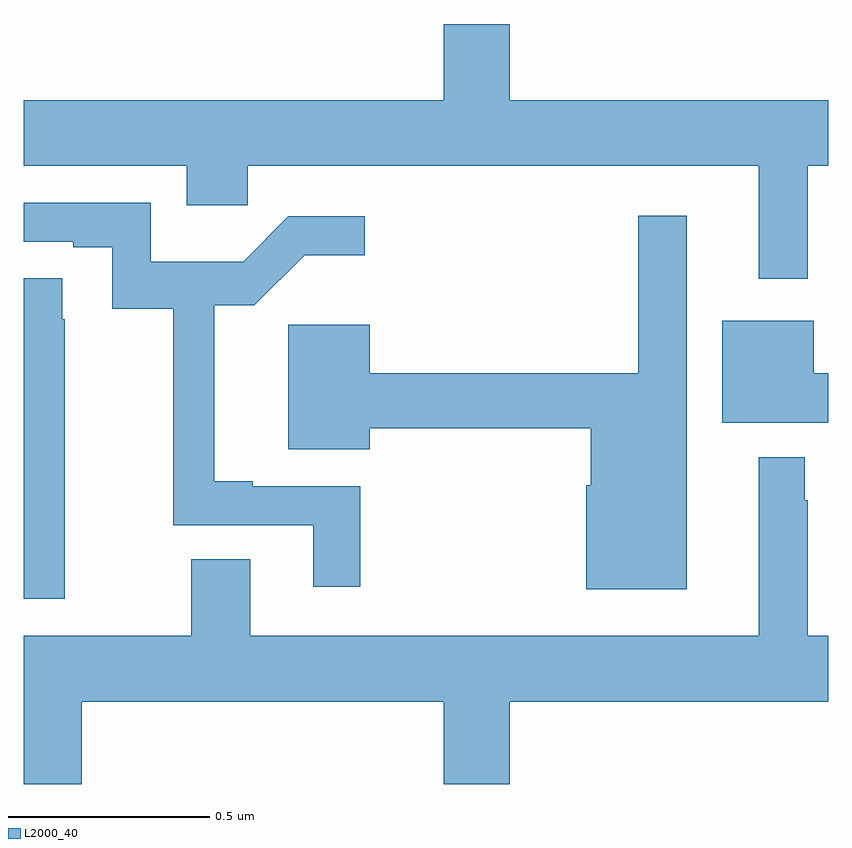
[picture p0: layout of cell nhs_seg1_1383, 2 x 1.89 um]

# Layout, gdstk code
import gdstk
lib = gdstk.Library(unit=1e-6, precision=1e-09)
def P(c, l, *ps):  # polygons
    for p in ps: c.add(gdstk.Polygon(p, *l))
L2000_40 = (2000, 40)

nhs_seg1_1383 = lib.new_cell('nhs_seg1_1383')
P(nhs_seg1_1383, L2000_40, [(129.949,547.736),(130,547.736),(130,547.9),(129.208,547.9),(129.208,548.089),(129.044,548.089),(129.044,547.9),(128,547.9),(128,547.736),(128.405,547.736),(128.405,547.638),(128.557,547.638),(128.557,547.736),(129.827,547.736),(129.827,547.455),(129.949,547.455)],
  [(128.837,546.939),(128.569,546.939),(128.569,546.952),(128.474,546.952),(128.474,547.389),(128.573,547.389),(128.699,547.514),(128.848,547.514),(128.848,547.611),(128.658,547.611),(128.545,547.498),(128.316,547.498),(128.316,547.644),(128,547.644),(128,547.548),(128.123,547.548),(128.123,547.534),(128.22,547.534),(128.22,547.381),(128.371,547.381),(128.371,546.843),(128.72,546.843),(128.72,546.69),(128.837,546.69)],
  [(129.649,547.612),(129.528,547.612),(129.528,547.22),(128.86,547.22),(128.86,547.341),(128.657,547.341),(128.657,547.031),(128.86,547.031),(128.86,547.084),(129.41,547.084),(129.41,546.942),(129.398,546.942),(129.398,546.683),(129.649,546.683)],
  [(128.102,547.355),(128.096,547.355),(128.096,547.457),(128,547.457),(128,546.66),(128.102,546.66)],
  [(130,547.22),(129.964,547.22),(129.964,547.351),(129.737,547.351),(129.737,547.097),(130,547.097)],
  [(128.144,546.404),(129.044,546.404),(129.044,546.199),(129.208,546.199),(129.208,546.404),(130,546.404),(130,546.568),(129.949,546.568),(129.949,546.905),(129.942,546.905),(129.942,547.012),(129.827,547.012),(129.827,546.568),(128.563,546.568),(128.563,546.758),(128.416,546.758),(128.416,546.568),(128,546.568),(128,546.199),(128.144,546.199)])

lib.write_gds('nhs_seg1_1383.gds')
